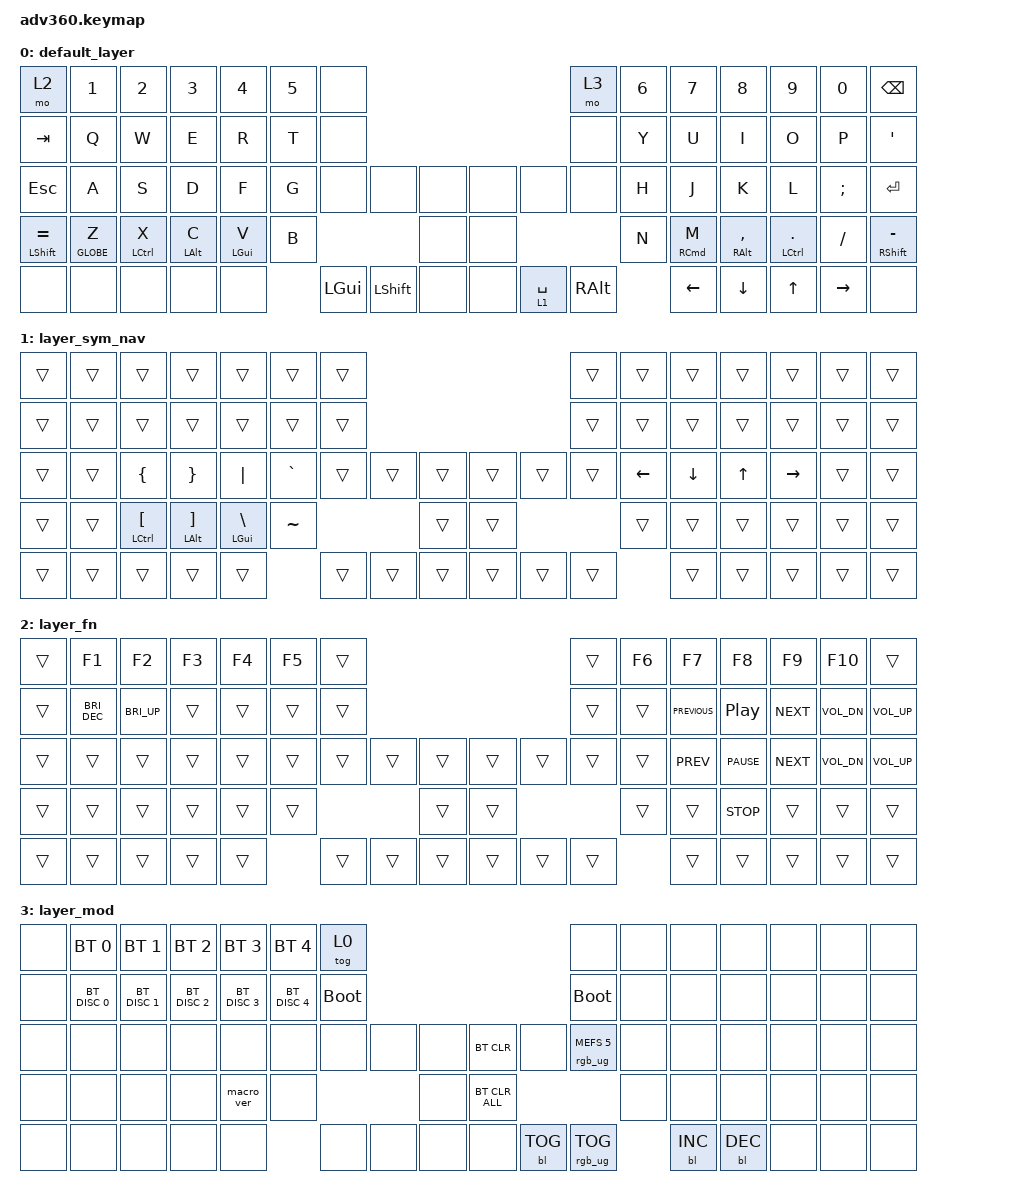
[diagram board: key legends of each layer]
#include <behaviors.dtsi>
#include <dt-bindings/zmk/backlight.h>
#include <dt-bindings/zmk/bt.h>
#include <dt-bindings/zmk/keys.h>
#include <dt-bindings/zmk/rgb.h>

/ {
    behaviors {
        #include "macros.dtsi"
      #include "version.dtsi"
      #ifndef VERSION_MACRO
      #endif

        hm: homerow_mods {
            compatible = "zmk,behavior-hold-tap";
            label = "HOMEROW_MODS";
            #binding-cells = <2>;
            tapping-term-ms = <200>;
            quick_tap_ms = <175>;
            flavor = "tap-preferred";
            bindings = <&kp>, <&kp>;
        };

        hmlt: homerow_mods_layer {
            compatible = "zmk,behavior-hold-tap";
            label = "HOMEROW_MODS_LAYER";
            #binding-cells = <2>;
            tapping-term-ms = <200>;
            quick_tap_ms = <175>;
            flavor = "tap-preferred";
            bindings = <&mo>, <&kp>;
        };
    };

    keymap {
        compatible = "zmk,keymap";

        default_layer {
            bindings = <
&mo 2             &kp NUMBER_1  &kp N2       &kp N3      &kp N4      &kp N5  &none                                                  &mo 3     &kp N6  &kp N7               &kp N8          &kp N9         &kp N0     &kp BACKSPACE
&kp TAB           &kp Q         &kp W        &kp E       &kp R       &kp T   &none                                                  &none     &kp Y   &kp U                &kp I           &kp O          &kp P      &kp APOS
&kp ESCAPE        &kp A         &kp S        &kp D       &kp F       &kp G   &none     &none       &none      &none  &none          &none     &kp H   &kp J                &kp K           &kp L          &kp SEMI   &kp ENTER
&hm LSHIFT EQUAL  &hm GLOBE Z   &hm LCTRL X  &hm LALT C  &hm LGUI V  &kp B                         &none      &none                           &kp N   &hm RIGHT_COMMAND M  &hm RALT COMMA  &hm LCTRL DOT  &kp SLASH  &hm RSHIFT MINUS
&none             &none         &none        &none       &none               &kp LGUI  &kp LSHIFT  &none      &none  &hmlt 1 SPACE  &kp RALT          &kp LEFT             &kp DOWN        &kp UP_ARROW   &kp RIGHT  &none
            >;
        };

        layer_sym_nav {
            bindings = <
&trans  &trans  &trans                  &trans                  &trans              &trans     &trans                                      &trans  &trans          &trans          &trans        &trans           &trans  &trans
&trans  &trans  &trans                  &trans                  &trans              &trans     &trans                                      &trans  &trans          &trans          &trans        &trans           &trans  &trans
&trans  &trans  &kp LEFT_BRACE          &kp RIGHT_BRACE         &kp PIPE            &kp GRAVE  &trans  &trans  &trans      &trans  &trans  &trans  &kp LEFT_ARROW  &kp DOWN_ARROW  &kp UP_ARROW  &kp RIGHT_ARROW  &trans  &trans
&trans  &trans  &hm LCTRL LEFT_BRACKET  &hm LALT RIGHT_BRACKET  &hm LGUI BACKSLASH  &kp TILDE                  &trans      &trans                  &trans          &trans          &trans        &trans           &trans  &trans
&trans  &trans  &trans                  &trans                  &trans                         &trans  &trans  &trans      &trans  &trans  &trans                  &trans          &trans        &trans           &trans  &trans
            >;
        };

        layer_fn {
            bindings = <
&trans  &kp F1         &kp F2        &kp F3  &kp F4  &kp F5  &trans                                      &trans  &kp F6  &kp F7          &kp F8            &kp F9      &kp F10       &trans
&trans  &kp C_BRI_DEC  &kp C_BRI_UP  &trans  &trans  &trans  &trans                                      &trans  &trans  &kp C_PREVIOUS  &kp C_PLAY_PAUSE  &kp C_NEXT  &kp C_VOL_DN  &kp C_VOL_UP
&trans  &trans         &trans        &trans  &trans  &trans  &trans  &trans  &trans      &trans  &trans  &trans  &trans  &kp K_PREV      &kp C_PAUSE       &kp K_NEXT  &kp K_VOL_DN  &kp K_VOL_UP
&trans  &trans         &trans        &trans  &trans  &trans                  &trans      &trans                  &trans  &trans          &kp C_STOP        &trans      &trans        &trans
&trans  &trans         &trans        &trans  &trans          &trans  &trans  &trans      &trans  &trans  &trans          &trans          &trans            &trans      &trans        &trans
            >;
        };

        layer_mod {
            bindings = <
&none  &bt BT_SEL 0   &bt BT_SEL 1   &bt BT_SEL 2   &bt BT_SEL 3   &bt BT_SEL 4   &tog 0                                                     &none                   &none  &none       &none       &none  &none  &none
&none  &bt BT_DISC 0  &bt BT_DISC 1  &bt BT_DISC 2  &bt BT_DISC 3  &bt BT_DISC 4  &bootloader                                                &bootloader             &none  &none       &none       &none  &none  &none
&none  &none          &none          &none          &none          &none          &none        &none  &none      &bt BT_CLR      &none       &rgb_ug RGB_MEFS_CMD 5  &none  &none       &none       &none  &none  &none
&none  &none          &none          &none          &macro_ver     &none                              &none      &bt BT_CLR_ALL                                      &none  &none       &none       &none  &none  &none
&none  &none          &none          &none          &none                         &none        &none  &none      &none           &bl BL_TOG  &rgb_ug RGB_TOG                &bl BL_INC  &bl BL_DEC  &none  &none  &none
            >;
        };
    };
};
